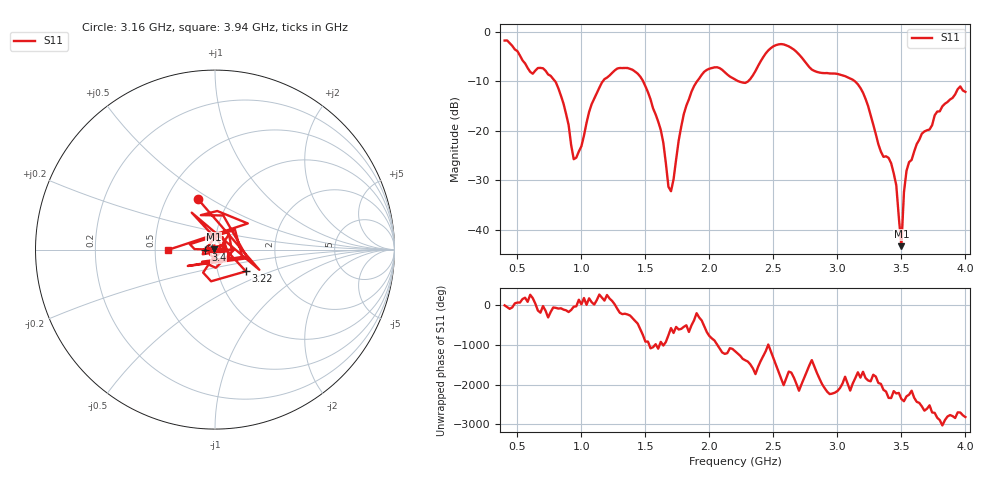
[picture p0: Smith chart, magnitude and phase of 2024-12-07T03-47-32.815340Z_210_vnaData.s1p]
!Created with skrf (http://scikit-rf.org).
# Hz S RI R 50.0
!freq ReS11 ImS11
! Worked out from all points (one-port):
!   181 points, 400 MHz to 4 GHz, reference 50 ohm
!   lowest |S11| = -43.3 dB at 3.5 GHz (marker M1), VSWR 1.01, Z = 49.4 + j0.268 ohm
!   |S11| at or under -10 dB: 795.1 MHz to 1.167 GHz (371.7 MHz wide, 37.9 % of centre); 1.483 GHz to 1.903 GHz (420.2 MHz wide, 24.8 % of centre); 3.138 GHz to end of sweep (the widest 3 of 4)
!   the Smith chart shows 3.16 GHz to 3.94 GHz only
!   S11 on the Smith chart (normalised r, x): 3.16 GHz: 0.72, +0.44; 3.22 GHz: 1.37, -0.35; 3.4 GHz: 0.90, -0.01; 3.94 GHz: 0.58, -0.00
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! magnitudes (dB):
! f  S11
! 400 MHz  -1.7
! 760 MHz  -8.9
! 860 MHz  -14.5
! 940 MHz  -25.7
! 960 MHz  -25.4
! 1.14 GHz  -11.3
! 1.3 GHz  -7.3
! 1.52 GHz  -12.2
! 1.62 GHz  -19.8
! 1.7 GHz  -32.2
! 1.76 GHz  -22.0
! 1.86 GHz  -12.1
! 1.96 GHz  -8.0
! 2.2 GHz  -9.6
! 2.3 GHz  -10.0
! 2.5 GHz  -2.9
! 2.66 GHz  -3.6
! 3.1 GHz  -9.4
! 3.16 GHz  -10.6
! 3.22 GHz  -13.5
! 3.34 GHz  -24.2
! 3.4 GHz  -25.5
! 3.46 GHz  -31.0
! 3.5 GHz  -43.3
! 3.52 GHz  -32.4
! 3.56 GHz  -26.3
! 3.94 GHz  -11.6
! 4 GHz  -12.1
